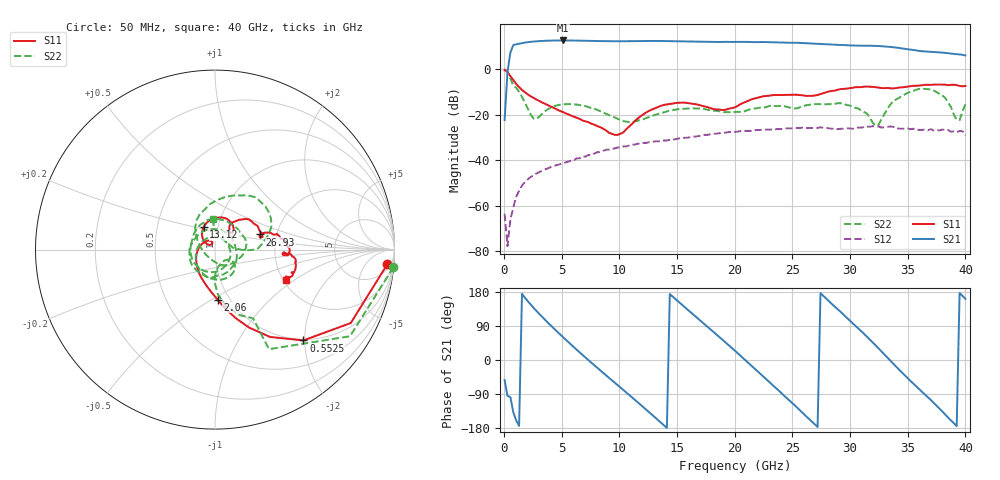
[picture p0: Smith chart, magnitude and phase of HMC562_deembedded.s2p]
!Hittite Microwave Corporation
!20 Alpha Road
!Chelmsford, MA 01824
!Tel: 978-250-3343
!Fax: 978-250-3373
!Device: HMC562, 2-35 GHz, GaAs MMIC PHEMT Wideband Driver Amplifier Die
!Misc: Vdd=+8V, 80mA, Room
# MHZ S MA R 50
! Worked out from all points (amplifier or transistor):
!   160 points, 50 MHz to 40 GHz, reference 50 ohm
!   highest |S21| = 12.6 dB at 5.075 GHz (marker M1)
!   |S21| within 3 dB of that: 728.5 MHz to 33.75 GHz (33.02 GHz wide, 192 % of centre)
!   unconditionally stable (mu >= 1): start of sweep to end of sweep
!   at 6.583 GHz: K = 10.36, MAG = 12.7 dB, |S12| = -39.2 dB
!   at 20.15 GHz: K = 2.95, MAG = 12.2 dB, |S12| = -27.5 dB
!   at 40 GHz: K = 5.61, MAG = 7.1 dB, |S12| = -29.1 dB
!   S11 on the Smith chart (normalised r, x): 50 MHz: 9, -19; 552.5 MHz: 0.98, -1.97; 2.06 GHz: 0.88, -0.53; 13.12 GHz: 0.86, +0.22; 26.93 GHz: 1.63, +0.30; 40 GHz: 2.06, -0.85
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50  0.963 -4.9  0.076 -53.2  0.0006611 115.4  0.999 -5.7
552.516  0.706 -45.8  2.326 -98.0  0.0004979 -12.9  0.631 -61.5
1055.031  0.475 -66.3  3.534 -159.7  0.001563 -57.1  0.391 -69.2
2060.063  0.279 -87.1  3.932 155.1  0.003783 -118.7  0.135 -89.0
3567.61  0.173 -116.5  4.224 105.8  0.006258 -176.1  0.12 -33.5
5075.157  0.115 -156.1  4.29 61.4  0.008488 142.6  0.168 -59.5
6833.962  0.074 149.7  4.234 12.6  0.012 101.6  0.159 -105.1
8341.509  0.053 113.3  4.155 -27.4  0.015 64.9  0.119 -155.1
10351.57  0.041 140.2  4.122 -79.2  0.02 14.3  0.072 111.2
13115.41  0.14 116.9  4.187 -152.2  0.026 -55.2  0.099 -37.4
13366.67  0.148 112.0  4.182 -158.9  0.026 -61.9  0.104 -47.8
14874.21  0.18 83.1  4.121 160.6  0.029 -98.6  0.129 -103.8
16884.28  0.164 51.4  4.017 107.5  0.034 -148.3  0.137 -176.8
18391.82  0.13 46.6  3.975 67.9  0.038 173.6  0.122 120.6
20150.63  0.15 58.0  3.999 21.0  0.042 128.5  0.115 34.7
21909.43  0.233 46.7  3.949 -27.6  0.046 84.1  0.138 -50.2
23919.5  0.27 22.2  3.894 -83.4  0.048 33.0  0.156 -129.6
26934.59  0.264 18.6  3.662 -169.5  0.051 -49.8  0.171 93.5
30452.2  0.401 6.1  3.313 90.9  0.049 -149.5  0.141 -21.7
33467.3  0.381 -4.4  3.097 -0.8  0.055 117.0  0.164 132.6
36482.39  0.453 -7.0  2.468 -90.8  0.047 36.7  0.37 40.4
40000  0.428 -23.2  2.009 161.5  0.035 -71.3  0.169 93.6
